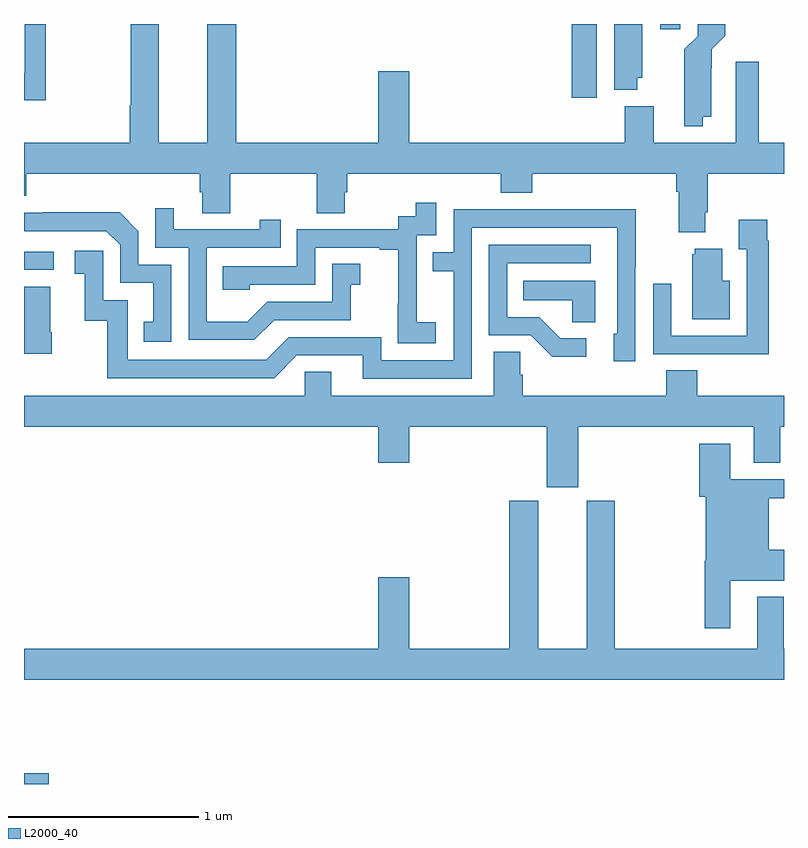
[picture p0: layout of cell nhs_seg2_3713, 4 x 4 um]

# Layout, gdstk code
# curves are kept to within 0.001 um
import gdstk
lib = gdstk.Library(unit=1e-6, precision=1e-09)
def R(c, l, rs):  # rectangles x0, y0, x1, y1
    for r in rs: c.add(gdstk.rectangle(r[:2], r[2:], *l))
def P(c, l, *ps):  # polygons
    for p in ps: c.add(gdstk.Polygon(p, *l))
L2000_40 = (2000, 40)

nhs_seg2_3713 = lib.new_cell('nhs_seg2_3713')
R(nhs_seg2_3713, L2000_40, [(307,601.8,307.129,601.856), (307,604.506,307.156,604.602), (309.884,605.412,310.015,605.8), (310.349,605.772,310.453,605.8)])
P(nhs_seg2_3713, L2000_40, [(310.573,605.312),(310.618,605.312),(310.619,605.666),(310.691,605.738),(310.691,605.8),(310.545,605.8),(310.545,605.736),(310.475,605.666),(310.476,605.261),(310.573,605.261)],
  [(310.585,604.81),(310.598,604.81),(310.598,605.012),(311,605.012),(311,605.176),(310.868,605.176),(310.868,605.602),(310.745,605.602),(310.745,605.176),(310.315,605.176),(310.315,605.368),(310.163,605.368),(310.163,605.176),(309.028,605.176),(309.028,605.551),(308.864,605.551),(308.864,605.176),(308.117,605.176),(308.117,605.8),(307.964,605.8),(307.964,605.176),(307.708,605.176),(307.708,605.8),(307.561,605.8),(307.561,605.372),(307.556,605.372),(307.556,605.176),(307,605.176),(307,604.895),(307.013,604.895),(307.013,605.012),(307.925,605.012),(307.925,604.914),(307.937,604.914),(307.937,604.804),(308.085,604.804),(308.085,605.012),(308.542,605.012),(308.542,604.804),(308.689,604.804),(308.689,604.914),(308.702,604.914),(308.702,605.012),(309.509,605.012),(309.509,604.913),(309.674,604.913),(309.674,605.012),(310.433,605.012),(310.433,604.916),(310.445,604.916),(310.445,604.703),(310.585,604.703)],
  [(310.228,605.517),(310.255,605.517),(310.255,605.8),(310.106,605.8),(310.106,605.453),(310.228,605.453)],
  [(307.114,605.8),(307.005,605.8),(307.005,605.544),(307,605.544),(307,605.4),(307.114,605.4)],
  [(309.166,604.231),(309.068,604.231),(309.068,604.46),(309.066,604.46),(309.066,604.689),(309.171,604.689),(309.171,604.858),(309.063,604.858),(309.063,604.788),(308.97,604.788),(308.97,604.719),(308.436,604.719),(308.436,604.524),(308.047,604.524),(308.047,604.401),(308.187,604.401),(308.187,604.428),(308.532,604.428),(308.532,604.623),(308.873,604.623),(308.873,604.611),(308.969,604.611),(308.969,604.327),(308.968,604.327),(308.968,604.121),(309.166,604.121)],
  [(308.317,604.242),(308.721,604.242),(308.721,604.427),(308.77,604.427),(308.77,604.537),(308.622,604.537),(308.622,604.338),(308.28,604.338),(308.176,604.234),(307.962,604.234),(307.962,604.623),(308.351,604.623),(308.351,604.771),(308.24,604.771),(308.24,604.719),(307.789,604.719),(307.789,604.831),(307.692,604.831),(307.692,604.623),(307.866,604.623),(307.866,604.137),(308.212,604.137)],
  [(309.357,604.728),(310.122,604.728),(310.122,604.17),(310.103,604.17),(310.103,604.026),(310.218,604.026),(310.218,604.519),(310.221,604.519),(310.221,604.826),(309.757,604.826),(309.757,604.824),(309.261,604.824),(309.261,604.599),(309.151,604.599),(309.151,604.498),(309.261,604.498),(309.261,604.029),(308.88,604.029),(308.88,604.152),(308.394,604.152),(308.274,604.032),(307.545,604.032),(307.545,604.347),(307.416,604.347),(307.416,604.606),(307.266,604.606),(307.266,604.485),(307.319,604.485),(307.319,604.239),(307.437,604.239),(307.437,603.936),(308.316,603.936),(308.436,604.056),(308.783,604.056),(308.783,603.933),(309.357,603.933)],
  [(307.776,604.533),(307.602,604.533),(307.602,604.71),(307.504,604.808),(307.096,604.808),(307.096,604.806),(307,604.806),(307,604.71),(307.434,604.71),(307.506,604.638),(307.506,604.437),(307.679,604.437),(307.679,604.233),(307.63,604.233),(307.63,604.128),(307.776,604.128)],
  [(310.919,604.658),(310.912,604.658),(310.912,604.771),(310.763,604.771),(310.763,604.615),(310.803,604.615),(310.803,604.158),(310.407,604.158),(310.407,604.432),(310.311,604.432),(310.311,604.062),(310.627,604.062),(310.627,604.061),(310.919,604.061)],
  [(309.958,604.146),(309.823,604.146),(309.712,604.257),(309.543,604.257),(309.543,604.542),(309.982,604.542),(309.982,604.638),(309.447,604.638),(309.447,604.161),(309.666,604.161),(309.779,604.049),(309.958,604.049)],
  [(310.714,604.45),(310.675,604.45),(310.675,604.618),(310.529,604.618),(310.529,604.587),(310.517,604.587),(310.517,604.247),(310.714,604.247)],
  [(310.006,604.45),(309.628,604.45),(309.628,604.346),(309.885,604.346),(309.885,604.231),(310.006,604.231)],
  [(307.146,604.177),(307.138,604.177),(307.138,604.417),(307,604.417),(307,604.065),(307.146,604.065)],
  [(310.544,603.977),(310.379,603.977),(310.379,603.844),(309.626,603.844),(309.626,603.953),(309.612,603.953),(309.612,604.076),(309.473,604.076),(309.473,603.844),(308.617,603.844),(308.617,603.971),(308.478,603.971),(308.478,603.844),(307,603.844),(307,603.68),(308.864,603.68),(308.864,603.492),(309.028,603.492),(309.028,603.68),(309.752,603.68),(309.752,603.363),(309.916,603.363),(309.916,603.68),(310.841,603.68),(310.841,603.49),(310.981,603.49),(310.981,603.68),(311,603.68),(311,603.844),(310.544,603.844)],
  [(310.717,602.87),(311,602.87),(311,603.034),(310.921,603.034),(310.921,603.304),(311,603.304),(311,603.405),(310.717,603.405),(310.717,603.592),(310.553,603.592),(310.553,603.312),(310.589,603.312),(310.589,602.974),(310.582,602.974),(310.582,602.619),(310.717,602.619)],
  [(311,602.512),(310.999,602.512),(310.999,602.785),(310.859,602.785),(310.859,602.512),(310.11,602.512),(310.11,603.291),(309.962,603.291),(309.962,602.512),(309.706,602.512),(309.706,603.291),(309.554,603.291),(309.554,602.512),(309.028,602.512),(309.028,602.887),(308.864,602.887),(308.864,602.512),(307,602.512),(307,602.348),(311,602.348)])

lib.write_gds('nhs_seg2_3713.gds')
